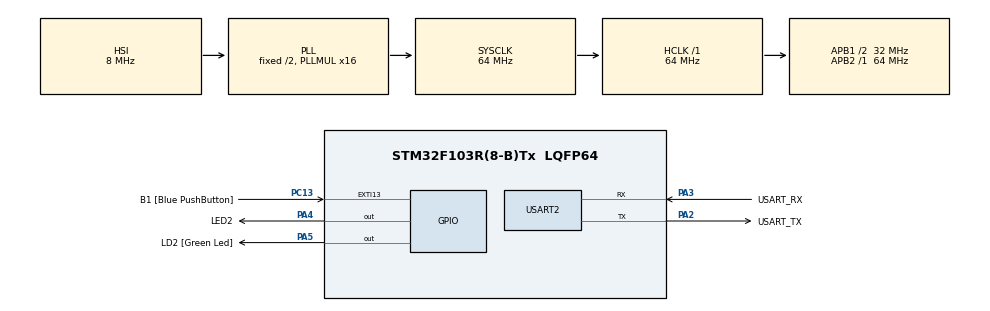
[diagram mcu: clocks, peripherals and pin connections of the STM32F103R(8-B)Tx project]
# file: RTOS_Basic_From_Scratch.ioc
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FREERTOS.Tasks01=defaultTask,24,128,StartDefaultTask,Default,NULL,Dynamic,NULL,NULL;LED_1_Task,8,128,LED_1_Blink,Default,NULL,Dynamic,NULL,NULL;LED_2_Task,8,128,LED_2_Blink,Default,NULL,Dynamic,NULL,NULL
Mcu.Family=STM32F1
Mcu.Name=STM32F103R(8-B)Tx
Mcu.Package=LQFP64
NVIC.EXTI15_10_IRQn=true\:5\:0\:false\:false\:true\:true\:true\:true\:true
NVIC.PriorityGroup=NVIC_PRIORITYGROUP_4
NVIC.TIM3_IRQn=true\:15\:0\:false\:false\:true\:false\:false\:true\:true
NVIC.TimeBase=TIM3_IRQn
NVIC.TimeBaseIP=TIM3
PA13.GPIO_Label=TMS
PA13.Mode=Serial_Wire
PA13.Signal=SYS_JTMS-SWDIO
PA14.GPIO_Label=TCK
PA14.Mode=Serial_Wire
PA14.Signal=SYS_JTCK-SWCLK
PA2.GPIO_Label=USART_TX
PA2.GPIO_Mode=GPIO_MODE_AF_PP
PA2.GPIO_PuPd=GPIO_NOPULL
PA2.GPIO_Speed=GPIO_SPEED_FREQ_LOW
PA2.Mode=Asynchronous
PA2.Signal=USART2_TX
PA3.GPIO_Label=USART_RX
PA3.GPIO_Mode=GPIO_MODE_AF_PP
PA3.GPIO_PuPd=GPIO_NOPULL
PA3.GPIO_Speed=GPIO_SPEED_FREQ_LOW
PA3.Mode=Asynchronous
PA3.Signal=USART2_RX
PA4.GPIO_Label=LED2
PA4.Signal=GPIO_Output
PA5.GPIO_Label=LD2 [Green Led]
PA5.GPIO_ModeDefaultOutputPP=GPIO_MODE_OUTPUT_PP
PA5.GPIO_PuPd=GPIO_NOPULL
PA5.GPIO_Speed=GPIO_SPEED_FREQ_LOW
PA5.Signal=GPIO_Output
PB3.GPIO_Label=SWO
PB3.Signal=SYS_JTDO-TRACESWO
PC13-TAMPER-RTC.GPIO_Label=B1 [Blue PushButton]
PC13-TAMPER-RTC.GPIO_PuPd=GPIO_NOPULL
PC13-TAMPER-RTC.Signal=GPXTI13
PC14-OSC32_IN.Mode=LSE-External-Oscillator
PC14-OSC32_IN.Signal=RCC_OSC32_IN
PC15-OSC32_OUT.Mode=LSE-External-Oscillator
PC15-OSC32_OUT.Signal=RCC_OSC32_OUT
PD0-OSC_IN.Mode=HSE-External-Clock-Source
PD0-OSC_IN.Signal=RCC_OSC_IN
PD1-OSC_OUT.Mode=HSE-External-Clock-Source
PD1-OSC_OUT.Signal=RCC_OSC_OUT
ProjectManager.HeapSize=0x200
ProjectManager.StackSize=0x400
ProjectManager.TargetToolchain=STM32CubeIDE
RCC.AHBFreq_Value=64000000
RCC.APB1CLKDivider=RCC_HCLK_DIV2
RCC.APB1Freq_Value=32000000
RCC.APB1TimFreq_Value=64000000
RCC.APB2Freq_Value=64000000
RCC.APB2TimFreq_Value=64000000
RCC.HCLKFreq_Value=64000000
RCC.PLLMUL=RCC_PLL_MUL16
RCC.RTCClockSelection=RCC_RTCCLKSOURCE_LSE
RCC.SYSCLKFreq_VALUE=64000000
RCC.SYSCLKSource=RCC_SYSCLKSOURCE_PLLCLK
RCC.USBFreq_Value=64000000
USART2.VirtualMode=VM_ASYNC
VP_FREERTOS_VS_CMSIS_V2.Mode=CMSIS_V2
VP_SYS_VS_tim3.Mode=TIM3
board=NUCLEO-F103RB

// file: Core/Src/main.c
/* USER CODE BEGIN Header */
/**
  ******************************************************************************
  * @file           : main.c
  * @brief          : Main program body
  ******************************************************************************
  * @attention
  *
  * Copyright (c) 2024 STMicroelectronics.
  * All rights reserved.
  *
  * This software is licensed under terms that can be found in the LICENSE file
  * in the root directory of this software component.
  * If no LICENSE file comes with this software, it is provided AS-IS.
  *
  ******************************************************************************
  */
/* USER CODE END Header */
#include "main.h"
#include "cmsis_os.h"

UART_HandleTypeDef huart2;

/* Definitions for defaultTask */
osThreadId_t defaultTaskHandle;
const osThreadAttr_t defaultTask_attributes = {
  .name = "defaultTask",
  .stack_size = 128 * 4,
  .priority = (osPriority_t) osPriorityNormal,
};
/* Definitions for LED_1_Task */
osThreadId_t LED_1_TaskHandle;
const osThreadAttr_t LED_1_Task_attributes = {
  .name = "LED_1_Task",
  .stack_size = 128 * 4,
  .priority = (osPriority_t) osPriorityLow,
};
/* Definitions for LED_2_Task */
osThreadId_t LED_2_TaskHandle;
const osThreadAttr_t LED_2_Task_attributes = {
  .name = "LED_2_Task",
  .stack_size = 128 * 4,
  .priority = (osPriority_t) osPriorityLow,
};

void SystemClock_Config(void);
static void MX_GPIO_Init(void);
static void MX_USART2_UART_Init(void);
void StartDefaultTask(void *argument);
void LED_1_Blink(void *argument);
void LED_2_Blink(void *argument);

/* USER CODE BEGIN 0 */
uint16_t tim_val;
uint16_t TaskState=0;
uint16_t LED1Delay;
uint16_t LED2Delay;

/* USER CODE END 0 */

int main(void)
{

  /* MCU Configuration--------------------------------------------------------*/

  /* Reset of all peripherals, Initializes the Flash interface and the Systick. */
  HAL_Init();

  /* Configure the system clock */
  SystemClock_Config();

  /* Initialize all configured peripherals */
  MX_GPIO_Init();
  MX_USART2_UART_Init();
  /* USER CODE BEGIN 2 */
tim_val = HAL_GetTick();
  /* USER CODE END 2 */

  /* Init scheduler */
  osKernelInitialize();

  /* Create the thread(s) */
  /* creation of defaultTask */
  defaultTaskHandle = osThreadNew(StartDefaultTask, NULL, &defaultTask_attributes);

  /* creation of LED_1_Task */
  LED_1_TaskHandle = osThreadNew(LED_1_Blink, NULL, &LED_1_Task_attributes);

  /* creation of LED_2_Task */
  LED_2_TaskHandle = osThreadNew(LED_2_Blink, NULL, &LED_2_Task_attributes);

  /* Start scheduler */
  osKernelStart();

  /* We should never get here as control is now taken by the scheduler */
  /* Infinite loop */
  while (1)
  {

  }
}

void SystemClock_Config(void)
{
  RCC_OscInitTypeDef RCC_OscInitStruct = {0};
  RCC_ClkInitTypeDef RCC_ClkInitStruct = {0};

  /** Initializes the RCC Oscillators according to the specified parameters
  * in the RCC_OscInitTypeDef structure.
  */
  RCC_OscInitStruct.OscillatorType = RCC_OSCILLATORTYPE_HSI;
  RCC_OscInitStruct.HSIState = RCC_HSI_ON;
  RCC_OscInitStruct.HSICalibrationValue = RCC_HSICALIBRATION_DEFAULT;
  RCC_OscInitStruct.PLL.PLLState = RCC_PLL_ON;
  RCC_OscInitStruct.PLL.PLLSource = RCC_PLLSOURCE_HSI_DIV2;
  RCC_OscInitStruct.PLL.PLLMUL = RCC_PLL_MUL16;
  if (HAL_RCC_OscConfig(&RCC_OscInitStruct) != HAL_OK)
  {
    Error_Handler();
  }

  /** Initializes the CPU, AHB and APB buses clocks
  */
  RCC_ClkInitStruct.ClockType = RCC_CLOCKTYPE_HCLK|RCC_CLOCKTYPE_SYSCLK
                              |RCC_CLOCKTYPE_PCLK1|RCC_CLOCKTYPE_PCLK2;
  RCC_ClkInitStruct.SYSCLKSource = RCC_SYSCLKSOURCE_PLLCLK;
  RCC_ClkInitStruct.AHBCLKDivider = RCC_SYSCLK_DIV1;
  RCC_ClkInitStruct.APB1CLKDivider = RCC_HCLK_DIV2;
  RCC_ClkInitStruct.APB2CLKDivider = RCC_HCLK_DIV1;

  if (HAL_RCC_ClockConfig(&RCC_ClkInitStruct, FLASH_LATENCY_2) != HAL_OK)
  {
    Error_Handler();
  }
}

static void MX_USART2_UART_Init(void)
{

  huart2.Instance = USART2;
  huart2.Init.BaudRate = 115200;
  huart2.Init.WordLength = UART_WORDLENGTH_8B;
  huart2.Init.StopBits = UART_STOPBITS_1;
  huart2.Init.Parity = UART_PARITY_NONE;
  huart2.Init.Mode = UART_MODE_TX_RX;
  huart2.Init.HwFlowCtl = UART_HWCONTROL_NONE;
  huart2.Init.OverSampling = UART_OVERSAMPLING_16;
  if (HAL_UART_Init(&huart2) != HAL_OK)
  {
    Error_Handler();
  }

}

static void MX_GPIO_Init(void)
{
  GPIO_InitTypeDef GPIO_InitStruct = {0};

  /* GPIO Ports Clock Enable */
  __HAL_RCC_GPIOC_CLK_ENABLE();
  __HAL_RCC_GPIOD_CLK_ENABLE();
  __HAL_RCC_GPIOA_CLK_ENABLE();
  __HAL_RCC_GPIOB_CLK_ENABLE();

  /*Configure GPIO pin Output Level */
  HAL_GPIO_WritePin(GPIOA, LED2_Pin|LD2_Pin, GPIO_PIN_RESET);

  /*Configure GPIO pin : B1_Pin */
  GPIO_InitStruct.Pin = B1_Pin;
  GPIO_InitStruct.Mode = GPIO_MODE_IT_RISING;
  GPIO_InitStruct.Pull = GPIO_NOPULL;
  HAL_GPIO_Init(B1_GPIO_Port, &GPIO_InitStruct);

  /*Configure GPIO pins : LED2_Pin LD2_Pin */
  GPIO_InitStruct.Pin = LED2_Pin|LD2_Pin;
  GPIO_InitStruct.Mode = GPIO_MODE_OUTPUT_PP;
  GPIO_InitStruct.Pull = GPIO_NOPULL;
  GPIO_InitStruct.Speed = GPIO_SPEED_FREQ_LOW;
  HAL_GPIO_Init(GPIOA, &GPIO_InitStruct);

  /* EXTI interrupt init*/
  HAL_NVIC_SetPriority(EXTI15_10_IRQn, 5, 0);
  HAL_NVIC_EnableIRQ(EXTI15_10_IRQn);

}

void StartDefaultTask(void *argument)
{
  for(;;)
  {
    osDelay(1);
  }
}

void LED_1_Blink(void *argument)
{
  /* USER CODE BEGIN LED_1_Blink */
  /* Infinite loop */

  for(;;)
  {
	  	  if (TaskState = 1)
	  		  LED1Delay = 400;
	  	  else
			LED1Delay = 200;

    osDelay(LED1Delay);
    HAL_GPIO_TogglePin(GPIOA , GPIO_PIN_5);
    	if (HAL_GetTick()- tim_val > 5000)
    	{
    		//tim_val = HAL_GetTick();
    		osThreadSuspend(LED_1_TaskHandle);
    	}

    	if (HAL_GetTick()- tim_val > 15000)
    	{
    		tim_val = HAL_GetTick();
    		osThreadResume(LED_2_TaskHandle);
    		TaskState=0;
    	}

  }
  /* USER CODE END LED_1_Blink */
}

void LED_2_Blink(void *argument)
{
  /* USER CODE BEGIN LED_2_Blink */
  /* Infinite loop */
	LED2Delay = 500;
  for(;;)
  {
    osDelay(LED2Delay);
    HAL_GPIO_TogglePin(GPIOA , GPIO_PIN_4);
    if (HAL_GetTick()-tim_val > 10000)
    {
    	TaskState=1;
    	//tim_val=HAL_GetTick();
    	osThreadResume(LED_1_TaskHandle);
    	osThreadSuspend(LED_2_TaskHandle);

    }

  }
  /* USER CODE END LED_2_Blink */
}

void HAL_TIM_PeriodElapsedCallback(TIM_HandleTypeDef *htim)
{
  if (htim->Instance == TIM3) {
    HAL_IncTick();
  }
}

void Error_Handler(void)
{
  __disable_irq();
  while (1)
  {
  }
}
